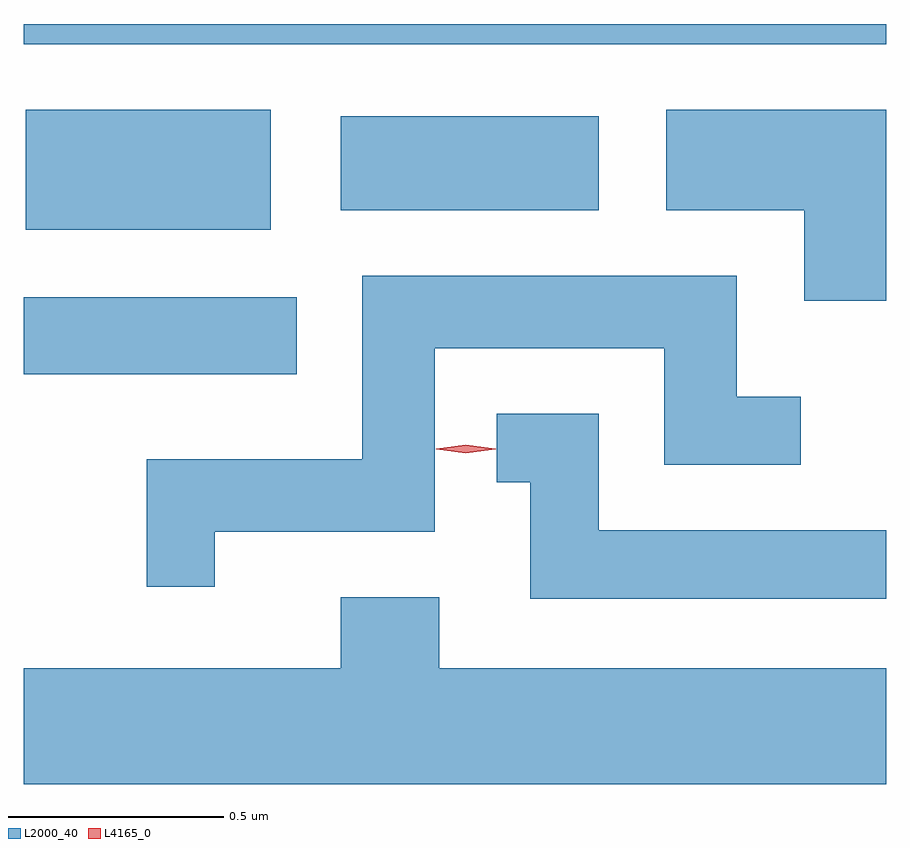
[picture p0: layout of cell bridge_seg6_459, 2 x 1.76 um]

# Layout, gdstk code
import gdstk
lib = gdstk.Library(unit=1e-6, precision=1e-09)
def R(c, l, rs):  # rectangles x0, y0, x1, y1
    for r in rs: c.add(gdstk.rectangle(r[:2], r[2:], *l))
def P(c, l, *ps):  # polygons
    for p in ps: c.add(gdstk.Polygon(p, *l))
L2000_40 = (2000, 40)
L4165_0 = (4165, 0)

bridge_seg6_459 = lib.new_cell('bridge_seg6_459')
R(bridge_seg6_459, L2000_40, [(821.686,1630.906,822.319,1631.084), (821.691,1631.241,822.259,1631.519), (822.421,1631.286,823.019,1631.504), (821.686,1631.671,823.686,1631.718)])
P(bridge_seg6_459, L2000_40, [(823.686,1631.519),(823.176,1631.519),(823.176,1631.286),(823.496,1631.286),(823.496,1631.076),(823.686,1631.076)],
  [(822.129,1630.541),(822.639,1630.541),(822.639,1630.966),(823.171,1630.966),(823.171,1630.696),(823.488,1630.696),(823.488,1630.854),(823.339,1630.854),(823.339,1631.134),(822.471,1631.134),(822.471,1630.709),(821.971,1630.709),(821.971,1630.413),(822.129,1630.413)],
  [(823.686,1630.544),(823.019,1630.544),(823.019,1630.814),(822.783,1630.814),(822.783,1630.656),(822.861,1630.656),(822.861,1630.386),(823.686,1630.386)],
  [(823.686,1630.224),(822.649,1630.224),(822.649,1630.389),(822.421,1630.389),(822.421,1630.224),(821.686,1630.224),(821.686,1629.956),(823.686,1629.956)])
P(bridge_seg6_459, L4165_0, [(822.711,1630.723),(822.642,1630.732),(822.642,1630.733),(822.642,1630.733),(822.711,1630.743),(822.781,1630.733),(822.781,1630.733),(822.781,1630.732)])

lib.write_gds('bridge_seg6_459.gds')
